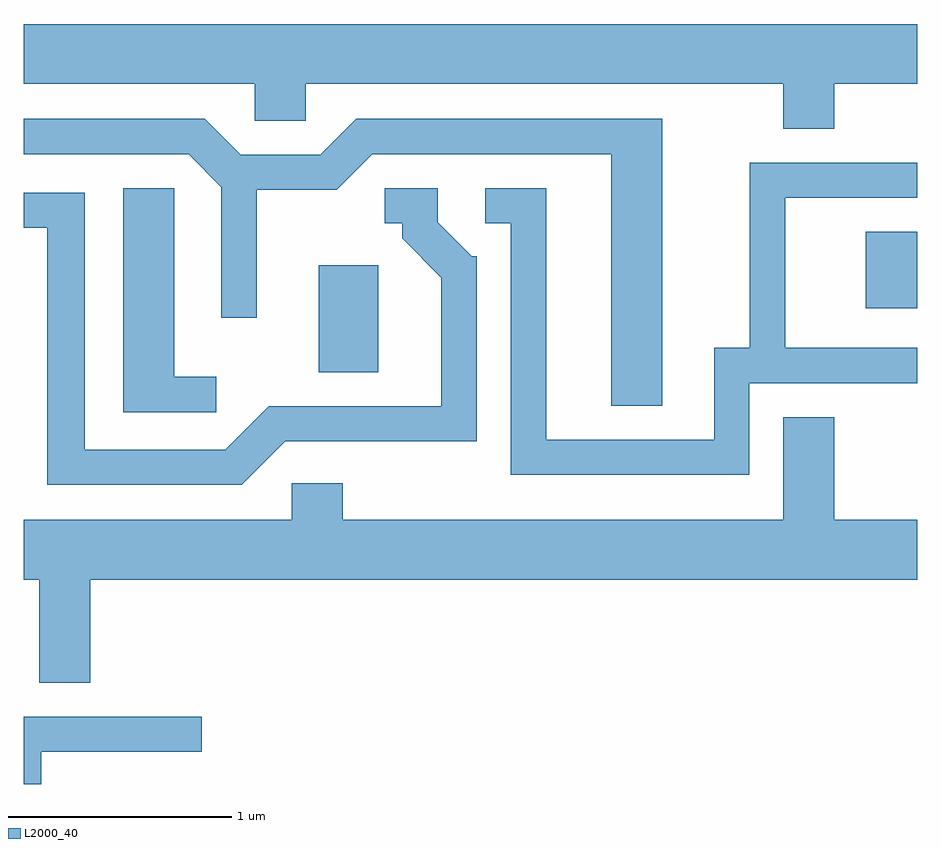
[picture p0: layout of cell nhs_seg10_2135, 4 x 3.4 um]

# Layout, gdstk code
import gdstk
lib = gdstk.Library(unit=1e-6, precision=1e-09)
def R(c, l, rs):  # rectangles x0, y0, x1, y1
    for r in rs: c.add(gdstk.rectangle(r[:2], r[2:], *l))
def P(c, l, *ps):  # polygons
    for p in ps: c.add(gdstk.Polygon(p, *l))
L2000_40 = (2000, 40)

nhs_seg10_2135 = lib.new_cell('nhs_seg10_2135')
R(nhs_seg10_2135, L2000_40, [(248.931,2150.366,249.199,2150.844), (251.381,2150.651,251.611,2150.994)])
P(nhs_seg10_2135, L2000_40, [(251.239,2151.656),(251.611,2151.656),(251.611,2151.924),(247.611,2151.924),(247.611,2151.656),(248.646,2151.656),(248.646,2151.491),(248.874,2151.491),(248.874,2151.656),(251.011,2151.656),(251.011,2151.456),(251.239,2151.456)],
  [(250.469,2151.499),(249.099,2151.499),(248.939,2151.339),(248.582,2151.339),(248.422,2151.499),(247.611,2151.499),(247.611,2151.341),(248.349,2151.341),(248.496,2151.194),(248.496,2150.608),(248.654,2150.608),(248.654,2151.181),(249.012,2151.181),(249.172,2151.341),(250.241,2151.341),(250.241,2150.216),(250.469,2150.216)],
  [(250.859,2150.316),(251.611,2150.316),(251.611,2150.474),(251.019,2150.474),(251.019,2151.146),(251.611,2151.146),(251.611,2151.304),(250.861,2151.304),(250.861,2150.474),(250.701,2150.474),(250.701,2150.064),(249.949,2150.064),(249.949,2151.189),(249.678,2151.189),(249.678,2151.031),(249.791,2151.031),(249.791,2149.906),(250.859,2149.906)],
  [(248.473,2150.344),(248.284,2150.344),(248.284,2151.189),(248.056,2151.189),(248.056,2150.186),(248.473,2150.186)],
  [(248.782,2150.056),(249.639,2150.056),(249.639,2150.884),(249.617,2150.884),(249.464,2151.037),(249.464,2151.189),(249.228,2151.189),(249.228,2151.031),(249.306,2151.031),(249.306,2150.964),(249.481,2150.789),(249.481,2150.214),(248.709,2150.214),(248.514,2150.019),(247.884,2150.019),(247.884,2151.169),(247.611,2151.169),(247.611,2151.011),(247.716,2151.011),(247.716,2149.861),(248.587,2149.861)],
  [(247.909,2149.436),(251.611,2149.436),(251.611,2149.704),(251.239,2149.704),(251.239,2150.164),(251.011,2150.164),(251.011,2149.704),(249.039,2149.704),(249.039,2149.869),(248.811,2149.869),(248.811,2149.704),(247.611,2149.704),(247.611,2149.436),(247.681,2149.436),(247.681,2148.976),(247.909,2148.976)],
  [(247.689,2148.666),(248.408,2148.666),(248.408,2148.824),(247.611,2148.824),(247.611,2148.522),(247.689,2148.522)])

lib.write_gds('nhs_seg10_2135.gds')
